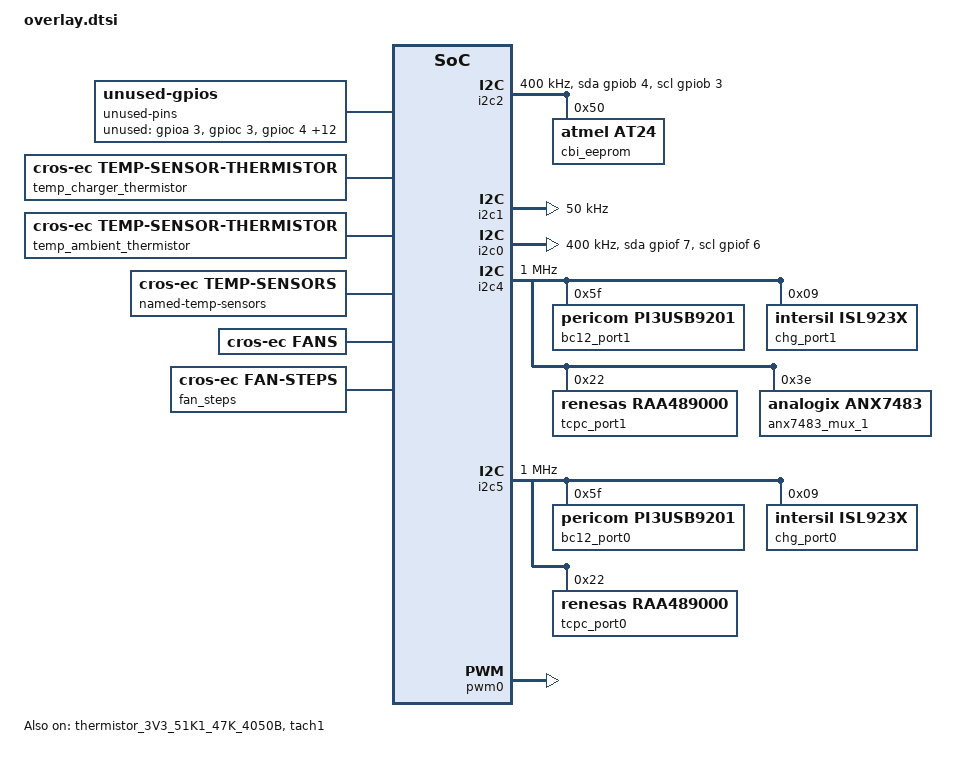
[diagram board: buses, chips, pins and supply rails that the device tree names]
/* Copyright 2021 The ChromiumOS Authors
 * Use of this source code is governed by a BSD-style license that can be
 * found in the LICENSE file.
 */

#include <cros/thermistor/thermistor.dtsi>
#include <dt-bindings/usbc_mux.h>
#include <dt-bindings/usb_pd_tcpm.h>

/ {
	aliases {
		gpio-cbi-wp = &gpio_ec_cbi_wp;
		gpio-wp = &gpio_ec_wp_odl;
		int-wp = &int_wp_l;
		/*
		 * USB-C: interrupt input.
		 * I2C pins are on i2c_ec_i2c_sub_usb_c1
		 */
		gpio-usb-c1-int-odl = &gpio_sb_1;
		/*
		 * USB-A: VBUS enable output
		 * LTE: power enable output
		 */
		gpio-en-usb-a1-vbus = &gpio_sb_2;
		/*
		 * HDMI: power enable output, HDMI enable output,
		 * and HPD input
		 */
		gpio-en-rails-odl = &gpio_sb_1;
		gpio-hdmi-en-odl = &gpio_sb_4;
		gpio-hpd-odl = &gpio_sb_3;
		/*
		 * Enable S5 rails for LTE sub-board
		 */
		gpio-en-sub-s5-rails = &gpio_sb_2;
	};


	ec-console {
		compatible = "ec-console";
		disabled = "events", "lpc", "hostcmd";
	};

	batteries {
		default_battery: pow-tech_sg20 {
			compatible = "pow-tech,sg20", "battery-smart";
		};
		gfl_mfp-466894 {
			compatible = "gfl,mfp-466894", "battery-smart";
		};
		gfl_mfp-549358 {
			compatible = "gfl,mfp-549358", "battery-smart";
		};
	};

	hibernate-wake-pins {
		compatible = "cros-ec,hibernate-wake-pins";
		wakeup-irqs = <
			&int_power_button
			&int_lid_open
		>;
	};

	gpio-interrupts {
		compatible = "cros-ec,gpio-interrupts";

		int_power_button: power_button {
			irq-pin = <&gpio_gsc_ec_pwr_btn_odl>;
			flags = <GPIO_INT_EDGE_BOTH>;
			handler = "power_button_interrupt";
		};
		int_vol_down: vol_down {
			irq-pin = <&gpio_voldn_btn_odl>;
			flags = <GPIO_INT_EDGE_BOTH>;
			handler = "button_interrupt";
		};
		int_vol_up: vol_up {
			irq-pin = <&gpio_volup_btn_odl>;
			flags = <GPIO_INT_EDGE_BOTH>;
			handler = "button_interrupt";
		};
		int_wp_l: wp_l {
			irq-pin = <&gpio_ec_wp_odl>;
			flags = <GPIO_INT_EDGE_BOTH>;
			handler = "switch_interrupt";
		};
		int_lid_open: lid_open {
			irq-pin = <&gpio_lid_open>;
			flags = <GPIO_INT_EDGE_BOTH>;
			handler = "lid_interrupt";
		};
		int_tablet_mode: tablet_mode {
			irq-pin = <&gpio_tablet_mode_l>;
			flags = <GPIO_INT_EDGE_BOTH>;
			handler = "gmr_tablet_switch_isr";
		};
		int_imu: ec_imu {
			irq-pin = <&gpio_imu_int_l>;
			flags = <GPIO_INT_EDGE_FALLING>;
			handler = "motion_interrupt";
		};
		int_lid_imu: lid_imu {
			irq-pin = <&gpio_acc_int_l>;
			flags = <GPIO_INT_EDGE_FALLING>;
			handler = "lid_accel_interrupt";
		};
		int_usb_c0: usb_c0 {
			irq-pin = <&gpio_usb_c0_int_odl>;
			flags = <GPIO_INT_EDGE_FALLING>;
			handler = "usb_interrupt";
		};
		int_usb_c1: usb_c1 {
			irq-pin = <&gpio_sb_1>;
			flags = <GPIO_INT_EDGE_FALLING>;
			handler = "usb_interrupt";
		};
	};

	unused-pins {
		compatible = "unused-gpios";
		unused-gpios = <&gpioa 3 0>,
			       <&gpioc 3 0>,
			       <&gpioc 4 0>,
			       <&gpioc 6 0>,
			       <&gpioc 7 0>,
			       <&gpiod 4 0>,
			       <&gpiof 4 0>,
			       <&gpiof 5 0>,
			       <&gpioh 2 0>,
			       <&gpioh 4 0>,
			       <&gpioh 6 0>,
			       <&gpioj 3 0>,
			       <&gpioj 7 0>,
			       <&gpiok 6 0>,
			       <&gpiol 4 0>;
	};

	named-gpios {
		/*
		 * EC doesn't take any specific action on CC/SBU disconnect due to
		 * fault, but this definition is useful for hardware testing.
		 */
		gpio_sb_1: sb_1 {
			gpios = <&gpioe 6 0>;
			no-auto-init;
		};
		gpio_sb_2: sb_2 {
			gpios = <&gpiof 0 0>;
			no-auto-init;
		};

		gpio_sb_3: sb_3 {
			gpios = <&gpioe 7 0>;
			no-auto-init;
		};
		gpio_sb_4: sb_4 {
			gpios = <&gpioe 0 0>;
			no-auto-init;
		};
		gpio_fan_enable: fan-enable {
			gpios = <&gpiog 3 GPIO_OUTPUT>;
			no-auto-init;
		};
		gpio_ec_chg_led_r: ec_chg_led_r {
			gpios = <&gpioa 1 GPIO_OUTPUT_LOW>;
		};
		gpio_ec_chg_led_b: ec_chg_led_b {
			gpios = <&gpioa 2 GPIO_OUTPUT_LOW>;
		};
	};

	temp_memory_thermistor: memory {
		compatible = "cros-ec,temp-sensor-thermistor";
		thermistor = <&thermistor_3V3_51K1_47K_4050B>;
		adc = <&adc_temp_sensor_1>;
	};
	temp_charger_thermistor: charger {
		compatible = "cros-ec,temp-sensor-thermistor";
		thermistor = <&thermistor_3V3_51K1_47K_4050B>;
		adc = <&adc_temp_sensor_2>;
	};
	temp_ambient_thermistor: ambient {
		compatible = "cros-ec,temp-sensor-thermistor";
		thermistor = <&thermistor_3V3_51K1_47K_4050B>;
		adc = <&adc_temp_sensor_3>;
	};

	named-temp-sensors {
		compatible = "cros-ec,temp-sensors";
		temp_memory: memory {
			temp_fan_off = <38>;
			temp_fan_max = <76>;
			temp_host_high = <102>;
			temp_host_halt = <104>;
			temp_host_release_high = <94>;
			power-good-pin = <&gpio_ec_soc_dsw_pwrok>;
			sensor = <&temp_memory_thermistor>;
		};
		temp_charger: charger {
			temp_fan_off = <35>;
			temp_fan_max = <60>;
			temp_host_high = <85>;
			temp_host_halt = <90>;
			temp_host_release_high = <80>;
			power-good-pin = <&gpio_ec_soc_dsw_pwrok>;
			sensor = <&temp_charger_thermistor>;
		};
		temp_ambient: ambient {
			temp_fan_off = <35>;
			temp_fan_max = <60>;
			temp_host_high = <85>;
			temp_host_halt = <90>;
			temp_host_release_high = <80>;
			power-good-pin = <&gpio_ec_soc_dsw_pwrok>;
			sensor = <&temp_ambient_thermistor>;
		};
	};

	usba {
		compatible = "cros-ec,usba-port-enable-pins";
		/*
		 * sb_2 is only configured as GPIO when USB-A1 is present,
		 * but it's still safe to control when disabled.
		 *
		 * ILIM_SEL pins are referred to by legacy enum name,
		 * GPIO_USB*_ILIM_SEL. The one for port A1 is unused on
		 * sub-boards that don't have USB-A so is safe to control
		 * regardless of system configuration.
		 */
		enable-pins = <&gpio_en_usb_a0_vbus &gpio_sb_2>;
		status = "okay";
	};

	usbc {
		#address-cells = <1>;
		#size-cells = <0>;

		port0@0 {
			compatible = "named-usbc-port";
			reg = <0>;
			bc12 = <&bc12_port0>;
			chg = <&chg_port0>;
			tcpc = <&tcpc_port0>;
			usb-mux-chain-0 {
				compatible = "cros-ec,usb-mux-chain";
				usb-muxes = <&virtual_mux_0>;
			};
		};
		port0-muxes {
			virtual_mux_0: virtual-mux-0 {
				compatible = "cros-ec,usbc-mux-virtual";
			};
		};
		port1@1 {
			compatible = "named-usbc-port";
			reg = <1>;
			bc12 = <&bc12_port1>;
			chg = <&chg_port1>;
			tcpc = <&tcpc_port1>;
			usb-mux-chain-1 {
				compatible = "cros-ec,usb-mux-chain";
				usb-muxes = <&virtual_mux_1 &anx7483_mux_1>;
			};
			usb_mux_chain_1_no_mux: usb-mux-chain-1-no-mux {
				compatible = "cros-ec,usb-mux-chain";
				alternative-chain;
				usb-muxes = <&virtual_mux_1>;
			};
		};
		port1-muxes {
			virtual_mux_1: virtual-mux-1 {
				compatible = "cros-ec,usbc-mux-virtual";
			};
		};
	};
	fans {
		compatible = "cros-ec,fans";

		fan_0 {
			pwms = <&pwm0 0 PWM_KHZ(30) PWM_POLARITY_NORMAL>;
			tach = <&tach1>;
			rpm_min = <2500>;
			rpm_start = <2500>;
			rpm_max = <4800>;
			enable_gpio = <&gpio_fan_enable>;
		};
	};
	fan_steps {
		compatible = "cros-ec,fan-steps";
		level_0 {
			temp_on = <37 0 0>;
			temp_off = <99 0 0>;
			rpm_target = <0>;
		};
		level_1 {
			temp_on = <41 0 0>;
			temp_off = <38 0 0>;
			rpm_target = <3000>;
		};
		level_2 {
			temp_on = <47 0 0>;
			temp_off = <44 0 0>;
			rpm_target = <3500>;
		};
		level_3 {
			temp_on = <53 0 0>;
			temp_off = <50 0 0>;
			rpm_target = <4000>;
		};
		level_4 {
			temp_on = <63 0 0>;
			temp_off = <60 0 0>;
			rpm_target = <4500>;
		};
		level_5 {
			temp_on = <70 0 0>;
			temp_off = <67 0 0>;
			rpm_target = <4800>;
		};
	};
};

&gpio_acc_int_l {
	gpios = <&gpioc 0 (GPIO_INPUT | GPIO_VOLTAGE_1P8)>;
};
&gpio_imu_int_l {
	gpios = <&gpioj 0 (GPIO_INPUT | GPIO_VOLTAGE_1P8)>;
};
&gpio_vccin_aux_vid0 {
	gpios = <&gpiod 0 (GPIO_INPUT | GPIO_VOLTAGE_1P8)>;
};
&gpio_vccin_aux_vid1 {
	gpios = <&gpiok 1 (GPIO_INPUT | GPIO_VOLTAGE_1P8)>;
};

&gpio_ec_prochot_odl {
	gpios = <&gpioi 1 (GPIO_ODR_HIGH | GPIO_VOLTAGE_1P8)>;
};

&thermistor_3V3_51K1_47K_4050B {
	status = "okay";
};

&adc_ec_vsense_pp3300_s5 {
	/*
	 * Voltage divider on input has 47k upper and 220k lower legs with 3 V
	 * full-scale reading on the ADC. Apply the largest possible multiplier
	 * (without overflowing int32) to get the best possible approximation
	 * of the actual ratio, but derate by a factor of two to ensure
	 * unexpectedly high values won't overflow.
	 */
	mul = <(715828 / 2)>;
	div = <(589820 / 2)>;
};

&adc0 {
	pinctrl-0 = <&adc0_ch0_gpi0_default
		     &adc0_ch2_gpi2_default
		     &adc0_ch3_gpi3_default
		     &adc0_ch13_gpl0_default
		     &adc0_ch14_gpl1_default>;
	pinctrl-names = "default";
};

&pinctrl {
	i2c4_clk_gpe0_sleep: i2c4_clk_gpe0_sleep {
		pinmuxs = <&pinctrle 0 IT8XXX2_ALT_DEFAULT>;
	};
	i2c4_data_gpe7_sleep: i2c4_data_gpe7_sleep {
		pinmuxs = <&pinctrle 7 IT8XXX2_ALT_DEFAULT>;
	};
	i2c2_clk_gpf6_default: i2c2_clk_gpf6_default {
		gpio-voltage = "1v8";
	};
	i2c2_data_gpf7_default: i2c2_data_gpf7_default {
		gpio-voltage = "1v8";
	};
};

&i2c2 {
	label = "I2C_EEPROM";
	clock-frequency = <I2C_BITRATE_FAST>;

	cbi_eeprom: eeprom@50 {
		compatible = "atmel,at24";
		reg = <0x50>;
		size = <2048>;
		pagesize = <16>;
		address-width = <8>;
		timeout = <5>;
	};
	pinctrl-0 = <&i2c0_clk_gpb3_default
		     &i2c0_data_gpb4_default>;
	pinctrl-names = "default";
	scl-gpios = <&gpiob 3 0>;
	sda-gpios = <&gpiob 4 0>;
	channel-switch-sel = <I2C_CHA_LOCATE>;
};

&i2c1 {
	label = "I2C_BATTERY";
	clock-frequency = <50000>;
	pinctrl-0 = <&i2c1_clk_gpc1_default
		     &i2c1_data_gpc2_default>;
	pinctrl-names = "default";
};

&i2c0 {
	label = "I2C_SENSOR";
	clock-frequency = <I2C_BITRATE_FAST>;
	pinctrl-0 = <&i2c2_clk_gpf6_default
		     &i2c2_data_gpf7_default>;
	pinctrl-names = "default";
	scl-gpios = <&gpiof 6 0>;
	sda-gpios = <&gpiof 7 0>;
	channel-switch-sel = <I2C_CHC_LOCATE>;
};

&i2c4 {
	label = "I2C_SUB_C1_TCPC";
	clock-frequency = <I2C_BITRATE_FAST_PLUS>;
	pinctrl-0 = <&i2c4_clk_gpe0_default
		     &i2c4_data_gpe7_default>;
	pinctrl-1 = <&i2c4_clk_gpe0_sleep
		     &i2c4_data_gpe7_sleep>;
	pinctrl-names = "default", "sleep";

	bc12_port1: pi3usb9201@5f {
		compatible = "pericom,pi3usb9201";
		status = "okay";
		reg = <0x5f>;
	};

	chg_port1: isl923x@9 {
		compatible = "intersil,isl923x";
		status = "okay";
		reg = <0x9>;
	};

	tcpc_port1: raa489000@22 {
		compatible = "renesas,raa489000";
		reg = <0x22>;
		tcpc-flags = <(
			TCPC_FLAGS_TCPCI_REV2_0 |
			TCPC_FLAGS_VBUS_MONITOR)>;
	};
	anx7483_mux_1: anx7483-mux-1@3e {
		compatible = "analogix,anx7483";
		reg = <0x3e>;
		board-set = "board_anx7483_c1_mux_set";
		flags = <USB_MUX_FLAG_RESETS_IN_G3>;
	};
};

&i2c_ec_i2c_sub_usb_c1 {
	/*
	 * Dynamic speed setting is used for AP-controlled firmware update
	 * of PS8745 TCPC/redriver: the AP lowers speed to 400 kHz in order
	 * to use more efficient window programming, then sets it back when
	 * done.
	 */
	dynamic-speed;
};

&i2c5 {
	label = "I2C_USB_C0_TCPC";
	clock-frequency = <I2C_BITRATE_FAST_PLUS>;
	pinctrl-0 = <&i2c5_clk_gpa4_default
		     &i2c5_data_gpa5_default>;
	pinctrl-names = "default";

	bc12_port0: pi3usb9201@5f {
		compatible = "pericom,pi3usb9201";
		status = "okay";
		reg = <0x5f>;
	};

	chg_port0: isl923x@9 {
		compatible = "intersil,isl923x";
		status = "okay";
		reg = <0x9>;
	};
	tcpc_port0: raa489000@22 {
		compatible = "renesas,raa489000";
		reg = <0x22>;
		tcpc-flags = <(
			TCPC_FLAGS_TCPCI_REV2_0 |
			TCPC_FLAGS_VBUS_MONITOR)>;
	};
};

/* pwm for fan */
&pwm0 {
	status = "okay";
	prescaler-cx = <PWM_PRESCALER_C6>;
	pinctrl-0 = <&pwm0_gpa0_default>;
	pinctrl-names = "default";
};

/* fan tachometer sensor */
&tach1a_gpd7_default {
	bias-pull-up;
};

&tach1 {
	status = "okay";
	channel = <IT8XXX2_TACH_CHANNEL_A>;
	pulses-per-round = <2>;
	pinctrl-0 = <&tach1a_gpd7_default>;
	pinctrl-names = "default";
};

